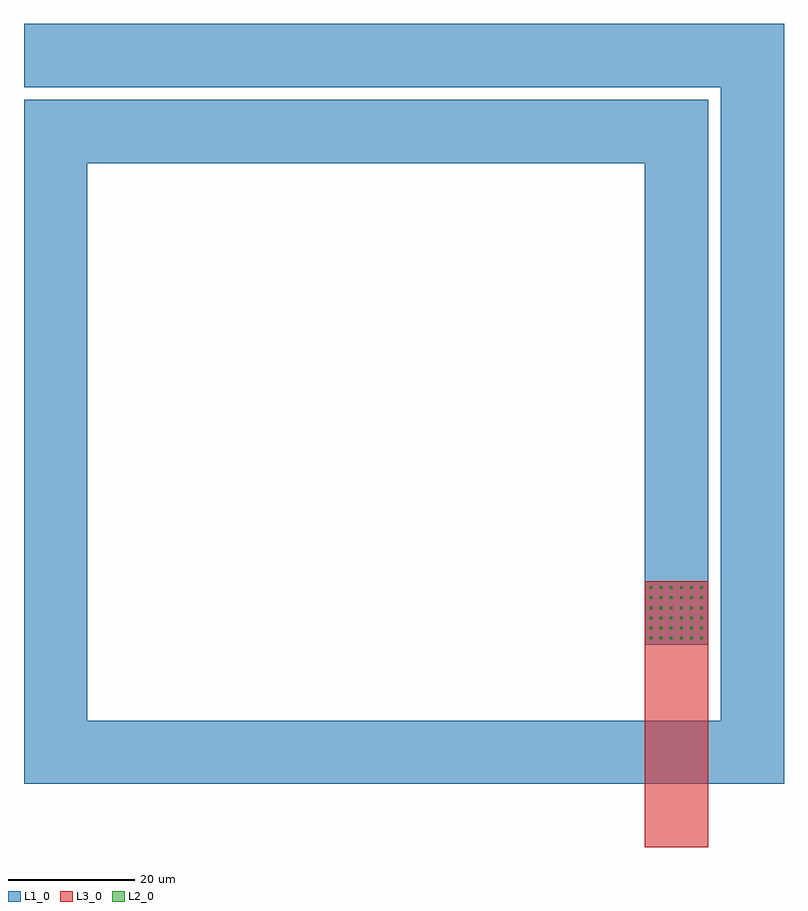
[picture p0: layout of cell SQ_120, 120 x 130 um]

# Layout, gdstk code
import gdstk
lib = gdstk.Library(unit=1e-6, precision=1e-09)
def R(c, l, rs):  # rectangles x0, y0, x1, y1
    for r in rs: c.add(gdstk.rectangle(r[:2], r[2:], *l))
def A(c, l, x, y, w, h, nx, ny, dx, dy):  # array of equal rectangles
    R(c, l, [(x+i*dx, y+j*dy, x+i*dx+w, y+j*dy+h) for i in range(nx) for j in range(ny)])
def P(c, l, *ps):  # polygons
    for p in ps: c.add(gdstk.Polygon(p, *l))
L1_0 = (1, 0)
L2_0 = (2, 0)
L3_0 = (3, 0)

sq_120 = lib.new_cell('SQ_120')
R(sq_120, L1_0, [(148.005,97,157.995,107)])
P(sq_120, L1_0, [(50,185),(50,195),(170,195),(160,185)],
  [(170,75),(160,85),(160,185),(170,195)],
  [(50,75),(60,85),(160,85),(170,75)],
  [(50,75),(50,183),(60,173),(60,85)],
  [(60,173),(50,183),(158,183),(148,173)],
  [(148,97),(148,173),(158,183),(158,97)])
A(sq_120, L2_0, 148.79, 97.8, 0.4, 0.4, 6, 6, 1.6, 1.6)
R(sq_120, L3_0, [(148,65,158,107), (148.005,97,157.995,107)])

lib.write_gds('SQ_120.gds')
